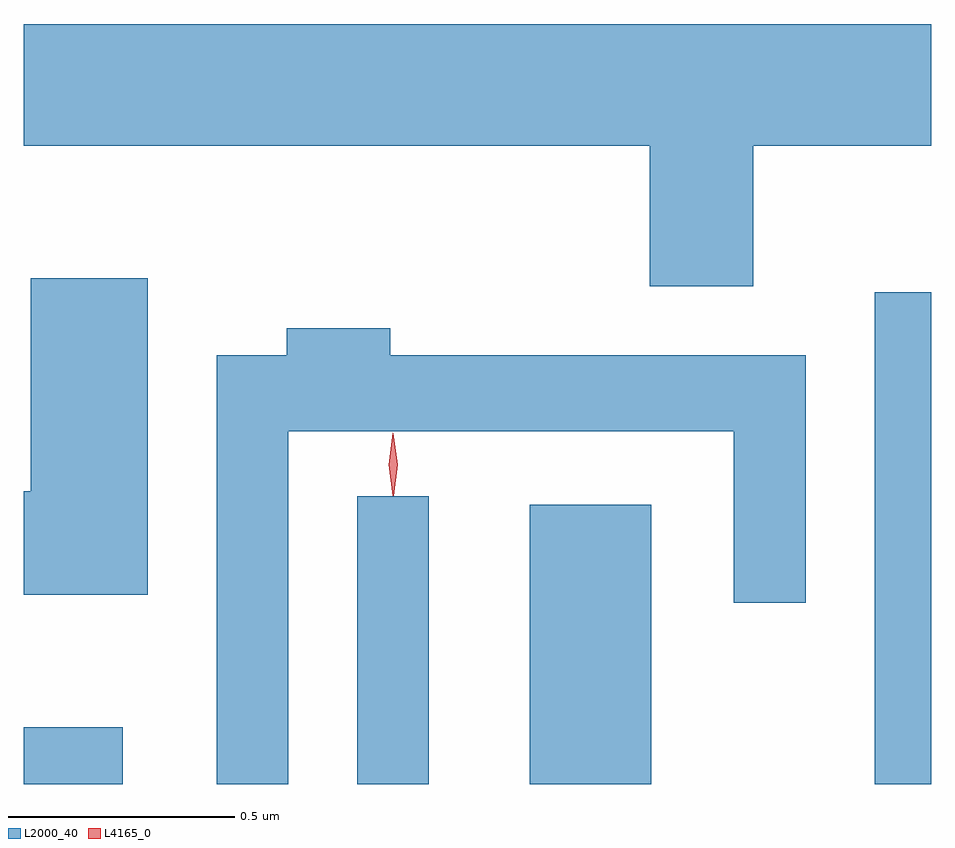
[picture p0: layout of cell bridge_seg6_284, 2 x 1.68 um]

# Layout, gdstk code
import gdstk
lib = gdstk.Library(unit=1e-6, precision=1e-09)
def R(c, l, rs):  # rectangles x0, y0, x1, y1
    for r in rs: c.add(gdstk.rectangle(r[:2], r[2:], *l))
def P(c, l, *ps):  # polygons
    for p in ps: c.add(gdstk.Polygon(p, *l))
L2000_40 = (2000, 40)
L4165_0 = (4165, 0)

bridge_seg6_284 = lib.new_cell('bridge_seg6_284')
R(bridge_seg6_284, L2000_40, [(1250.881,1555.289,1251.099,1555.414), (1251.616,1555.289,1251.774,1555.923), (1251.996,1555.289,1252.264,1555.904), (1252.756,1555.289,1252.881,1556.373)])
P(bridge_seg6_284, L2000_40, [(1252.489,1556.696),(1252.881,1556.696),(1252.881,1556.964),(1250.881,1556.964),(1250.881,1556.696),(1252.261,1556.696),(1252.261,1556.386),(1252.489,1556.386)],
  [(1251.154,1556.404),(1250.896,1556.404),(1250.896,1555.934),(1250.881,1555.934),(1250.881,1555.706),(1251.154,1555.706)],
  [(1251.464,1556.066),(1252.446,1556.066),(1252.446,1555.688),(1252.604,1555.688),(1252.604,1556.234),(1251.689,1556.234),(1251.689,1556.294),(1251.461,1556.294),(1251.461,1556.234),(1251.306,1556.234),(1251.306,1555.289),(1251.464,1555.289)])
P(bridge_seg6_284, L4165_0, [(1251.694,1555.924),(1251.685,1555.993),(1251.694,1556.062),(1251.694,1556.063),(1251.695,1556.062),(1251.705,1555.993),(1251.696,1555.924),(1251.695,1555.924)])

lib.write_gds('bridge_seg6_284.gds')
